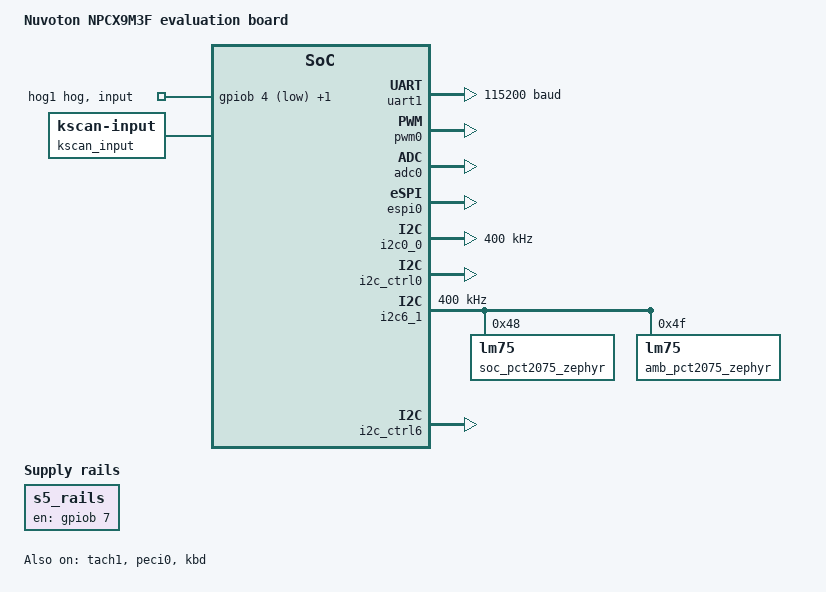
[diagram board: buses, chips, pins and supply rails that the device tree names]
/*
 * Copyright (c) 2021 Nuvoton Technology Corporation.
 *
 * SPDX-License-Identifier: Apache-2.0
 */

/dts-v1/;

#include <nuvoton/npcx9m3f.dtsi>
#include <dt-bindings/gpio/nuvoton-npcx-gpio.h>
#include "npcx9m3f_evb-pinctrl.dtsi"

/ {
	model = "Nuvoton NPCX9M3F evaluation board";

	chosen {
		zephyr,sram = &sram0;
		zephyr,shell-uart = &uart1;
		zephyr,console = &uart1;
		zephyr,flash = &flash0;
		zephyr,keyboard-scan = &kscan_input;
	};

	aliases {
		/* For samples/basic/blinky_pwm */
		// pwm-led0 = &pwm_led0_green;
		/* For gpio test suites */
		// led0 = &gpio_led_red;
		/* For pwm test suites */
		// pwm-0 = &pwm6;
		/* For i2c test suites */
		i2c-0 = &i2c0_0;
		i2c-6 = &i2c6_0;
		/* For watchdog sample */
		watchdog0 = &twd0;
		peci-0 = &peci0;
		/* For samples/drivers/spi_flash */
		spi-flash0 = &int_flash;
		/* For kscan test suites */
		kscan0 = &kscan_input;
	};

	// leds-pwm {
	// 	compatible = "pwm-leds";
	// 	pwm_led0_green: pwm_led_0 {
	// 		pwms = <&pwm6 0 PWM_MSEC(20) PWM_POLARITY_INVERTED>;
	// 		label = "User D7 green";
	// 	};
	// };

	// leds-gpio {
	// 	compatible = "gpio-leds";
	// 	gpio_led_red: led_0 {
	// 		gpios = <&gpio6 0 GPIO_ACTIVE_LOW>;
	// 		label = "User D8 red";
	// 	};
	// };

	// power-states {
	// 	suspend_to_idle0: suspend-to-idle0 {
	// 		compatible = "zephyr,power-state";
	// 		power-state-name = "suspend-to-idle";
	// 		substate-id = <0>;
	// 		min-residency-us = <1000>;
	// 	};

	// 	suspend_to_idle1: suspend-to-idle1 {
	// 		compatible = "zephyr,power-state";
	// 		power-state-name = "suspend-to-idle";
	// 		substate-id = <1>;
	// 		min-residency-us = <201000>;
	// 	};
	// };
	s5_rails: s5_rail {
		compatible = "regulator-fixed";
		regulator-name = "s5_rails";
		enable-gpios = <&gpiob 7 GPIO_ACTIVE_HIGH>;
		regulator-boot-on;
		startup-delay-us = <5000>;
    };

	// power_domain_gpio_monitor_s5: power_domain_s5 {
	// 	compatible = "power-domain-gpio-monitor";
	// 	status = "okay";
	// 	gpios = <&gpioc 0 GPIO_ACTIVE_HIGH>;
	// };
};

&cpu0 {
	cpu-power-states = <&suspend_to_idle0 &suspend_to_idle1>;
	// pinctrl-names = "default";
};

&gpiob {
       hog1 {
               gpio-hog;
               gpios = <4 (GPIO_ACTIVE_LOW | NPCX_GPIO_VOLTAGE_1P8)>,
                       <5 (GPIO_ACTIVE_LOW | NPCX_GPIO_VOLTAGE_1P8)>;
               input;
       };
};

&gpioc {
	status = "okay";
};

/* Overwrite default device properties with overlays in board dt file here. */
&uart1 {
	status = "okay";
	current-speed = <115200>;
	/* Use UART1_SL2 ie. PIN64.65 */
	pinctrl-0 = <&uart1_2_sin_gp64
		     &uart1_2_sout_gp65>;
	pinctrl-names = "default";
};

&pwm0 {
	status = "okay";
	pinctrl-0 = <&pwm0_gpc3>;
	pinctrl-names = "default";
};

&tach1 {
	status = "okay";
	pulses-per-round = <2>;
	pinctrl-0 = <&ta1_1_in_gp40>;
	pinctrl-names = "default";
};


// &pwm6 {
// 	status = "okay";
// 	pinctrl-0 = <&pwm6_gpc0>;
// 	pinctrl-names = "default";
// };

&adc0 {
	status = "okay";
	/* Use adc0 channel 0 and 2 for 'adc_api' driver tests */
	pinctrl-0 = <&adc0_chan0_gp45
		     &adc0_chan2_gp43>;
	pinctrl-names = "default";
};

&espi0 {
	status = "okay";
	pinctrl-0 = <&espi_lpc_gp46_47_51_52_53_54_55_57>;
	pinctrl-names = "default";
};

&i2c0_0 {
	status = "okay";
	pinctrl-0 = <&i2c0_0_sda_scl_gpb4_b5>;
	pinctrl-names = "default";
	clock-frequency = <I2C_BITRATE_FAST>;
};

&i2c_ctrl0 {
	status = "okay";
};

&i2c6_1 {
	status = "okay";
	pinctrl-0 = <&i2c6_1_sda_scl_gpe3_e4>;
	pinctrl-names = "default";
	clock-frequency = <I2C_BITRATE_FAST>;

	soc_pct2075_zephyr: soc-pct2075-zephyr@48 {
		friendly-name = "soc";
		compatible = "lm75";
		reg = <0x48>;
		// power-domain = <&power_domain_gpio_monitor_s5>;
	};

	amb_pct2075_zephyr: amb-pct2075-zephyr@4f {
		friendly-name = "amb";
		compatible = "lm75";
		reg = <0x4f>;
		// power-domain = <&power_domain_gpio_monitor_s5>;
	};

};

&i2c_ctrl6 {
	status = "okay";
};

&tach1 {
	status = "okay";
	pinctrl-0 = <&ta1_1_in_gp40>;
	pinctrl-names = "default";
	port = <NPCX_TACH_PORT_A>; /* port-A is selected */
	sample-clk = <NPCX_TACH_FREQ_LFCLK>; /* Use LFCLK as sampling clock */
	pulses-per-round = <1>; /* number of pulses per round of encoder */
};

&peci0 {
	status = "okay";
	pinctrl-0 = <&peci_dat_gp81>;
	pinctrl-names = "default";
};

&kbd {
	/* Demonstrate a 13 x 8 keyboard matrix on evb */
	pinctrl-0 = <&ksi0_gp31 /* KSI0 PIN31 */
		     &ksi1_gp30 /* KSI1 PIN30 */
		     &ksi2_gp27 /* KSI2 PIN27 */
		     &ksi3_gp26 /* KSI3 PIN26 */
		     &ksi4_gp25 /* KSI4 PIN25 */
		     &ksi5_gp24 /* KSI5 PIN24 */
		     &ksi6_gp23 /* KSI6 PIN23 */
		     &ksi7_gp22 /* KSI7 PIN22 */
		     &kso00_gp21 /* KSO00 PIN21 */
		     &kso01_gp20 /* KSO01 PIN20 */
		     &kso02_gp17 /* KSO02 PIN17 */
		     &kso03_gp16 /* KSO03 PIN16 */
		     &kso04_gp15 /* KSO04 PIN15 */
		     &kso05_gp14 /* KSO05 PIN14 */
		     &kso06_gp13 /* KSO06 PIN13 */
		     &kso07_gp12 /* KSO07 PIN12 */
		     &kso08_gp11 /* KSO08 PIN11 */
		     &kso09_gp10 /* KSO09 PIN10 */
		     &kso10_gp07 /* KSO10 PIN07 */
		     &kso11_gp06 /* KSO11 PIN06 */
		     &kso12_gp05 /* KSO12 PIN05 */
		     >;
	pinctrl-names = "default";
	row-size = <8>;
	col-size = <13>;
	status = "okay";

	kscan_input: kscan-input {
		compatible = "zephyr,kscan-input";
	};
};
